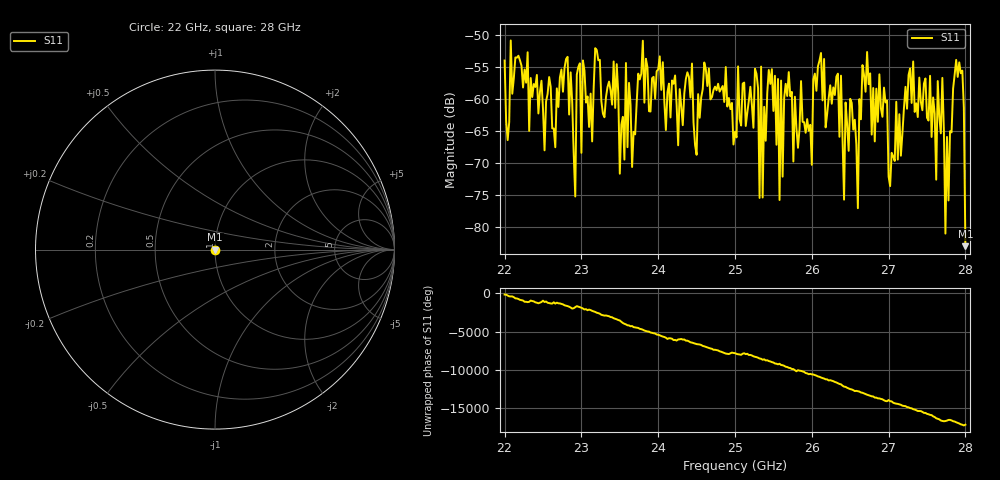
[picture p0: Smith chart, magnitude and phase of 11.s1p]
#  HZ  S  RI  R  50.00
! Rohde & Schwarz ZVA40 4Ports - Version 3.90 - 1145.1110k42 SN: 100403
! Date: 2023-10-04 11:43:20
! Measurement: S12
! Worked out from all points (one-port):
!   301 points, 22 GHz to 28 GHz, reference 50 ohm
!   lowest |S11| = -83.0 dB at 28 GHz (marker M1), VSWR 1.00, Z = 50 + j0.00574 ohm
!   |S11| at or under -10 dB: start of sweep to end of sweep
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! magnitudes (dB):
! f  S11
! 22 GHz  -54.0
! 22.76 GHz  -58.8
! 22.92 GHz  -75.2
! 22.96 GHz  -55.0
! 23.46 GHz  -54.5
! 23.5 GHz  -71.6
! 23.8 GHz  -50.9
! 24.26 GHz  -67.2
! 25 GHz  -65.1
! 25.34 GHz  -54.9
! 25.36 GHz  -75.4
! 25.48 GHz  -55.3
! 25.58 GHz  -75.8
! 25.7 GHz  -55.8
! 25.76 GHz  -69.7
! 26.12 GHz  -52.8
! 26.38 GHz  -56.3
! 26.42 GHz  -75.7
! 26.5 GHz  -60.0
! 26.6 GHz  -77.0
! 26.72 GHz  -52.6
! 27.02 GHz  -73.6
! 27.26 GHz  -56.2
! 27.62 GHz  -72.6
! 27.7 GHz  -56.7
! 27.74 GHz  -81.0
! 27.92 GHz  -54.3
! 28 GHz  -83.0
